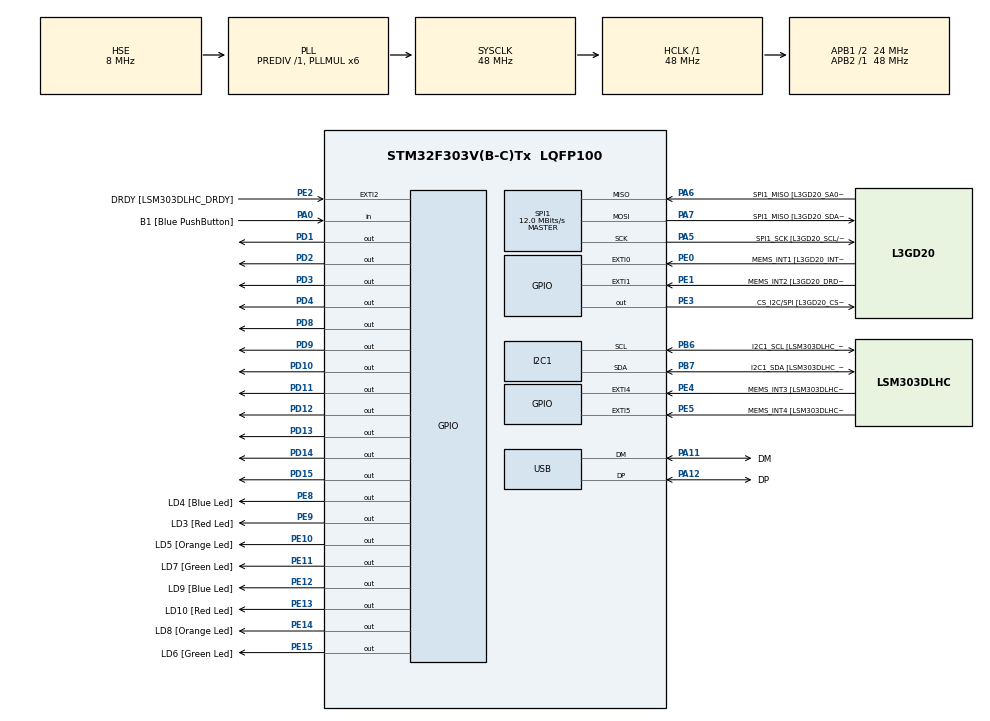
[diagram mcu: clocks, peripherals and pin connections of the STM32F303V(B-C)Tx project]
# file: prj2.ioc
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I2C1.Timing=0x2000090E
I2C1.Timing-I2C=0x2000090E
Mcu.Family=STM32F3
Mcu.Name=STM32F303V(B-C)Tx
Mcu.Package=LQFP100
NVIC.PriorityGroup=NVIC_PRIORITYGROUP_0
PA0.GPIO_Label=B1 [Blue PushButton]
PA0.Signal=GPIO_Input
PA11.GPIO_Label=DM
PA11.Mode=Device
PA11.Signal=USB_DM
PA12.GPIO_Label=DP
PA12.Mode=Device
PA12.Signal=USB_DP
PA13.GPIO_Label=SWDIO
PA13.Mode=Serial_Wire
PA13.Signal=SYS_JTMS-SWDIO
PA14.GPIO_Label=SWCLK
PA14.Mode=Serial_Wire
PA14.Signal=SYS_JTCK-SWCLK
PA5.GPIO_Label=SPI1_SCK [L3GD20_SCL/SPC]
PA5.Mode=Full_Duplex_Master
PA5.Signal=SPI1_SCK
PA6.GPIO_Label=SPI1_MISO [L3GD20_SA0/SDO]
PA6.Mode=Full_Duplex_Master
PA6.Signal=SPI1_MISO
PA7.GPIO_Label=SPI1_MISO [L3GD20_SDA/SDI/SDO]
PA7.Mode=Full_Duplex_Master
PA7.Signal=SPI1_MOSI
PB3.GPIO_Label=SWO
PB3.Signal=SYS_JTDO-TRACESWO
PB6.GPIO_Label=I2C1_SCL [LSM303DLHC_SCL]
PB6.GPIO_Pu=GPIO_PULLUP
PB6.Mode=I2C
PB6.Signal=I2C1_SCL
PB7.GPIO_Label=I2C1_SDA [LSM303DLHC_SDA]
PB7.GPIO_Pu=GPIO_PULLUP
PB7.Mode=I2C
PB7.Signal=I2C1_SDA
PC14-OSC32_IN.GPIO_Label=OSC32_IN
PC14-OSC32_IN.Signal=RCC_OSC32_IN
PC15-OSC32_OUT.GPIO_Label=OSC32_OUT
PC15-OSC32_OUT.Signal=RCC_OSC32_OUT
PD1.Signal=GPIO_Output
PD10.Signal=GPIO_Output
PD11.Signal=GPIO_Output
PD12.Signal=GPIO_Output
PD13.Signal=GPIO_Output
PD14.Signal=GPIO_Output
PD15.Signal=GPIO_Output
PD2.Signal=GPIO_Output
PD3.Signal=GPIO_Output
PD4.Signal=GPIO_Output
PD8.Signal=GPIO_Output
PD9.Signal=GPIO_Output
PE0.GPIO_Label=MEMS_INT1 [L3GD20_INT1]
PE0.GPIO_ModeDefaultEXTI=GPIO_MODE_EVT_RISING
PE0.Signal=GPXTI0
PE1.GPIO_Label=MEMS_INT2 [L3GD20_DRDY/INT2]
PE1.GPIO_ModeDefaultEXTI=GPIO_MODE_EVT_RISING
PE1.Signal=GPXTI1
PE10.GPIO_Label=LD5 [Orange Led]
PE10.Signal=GPIO_Output
PE11.GPIO_Label=LD7 [Green Led]
PE11.Signal=GPIO_Output
PE12.GPIO_Label=LD9 [Blue Led]
PE12.Signal=GPIO_Output
PE13.GPIO_Label=LD10 [Red Led]
PE13.Signal=GPIO_Output
PE14.GPIO_Label=LD8 [Orange Led]
PE14.Signal=GPIO_Output
PE15.GPIO_Label=LD6 [Green Led]
PE15.Signal=GPIO_Output
PE2.GPIO_Label=DRDY [LSM303DLHC_DRDY]
PE2.GPIO_ModeDefaultEXTI=GPIO_MODE_EVT_RISING
PE2.Signal=GPXTI2
PE3.GPIO_Label=CS_I2C/SPI [L3GD20_CS_I2C/SPI]
PE3.Signal=GPIO_Output
PE4.GPIO_Label=MEMS_INT3 [LSM303DLHC_INT1]
PE4.GPIO_ModeDefaultEXTI=GPIO_MODE_EVT_RISING
PE4.Signal=GPXTI4
PE5.GPIO_Label=MEMS_INT4 [LSM303DLHC_INT2]
PE5.GPIO_ModeDefaultEXTI=GPIO_MODE_EVT_RISING
PE5.Signal=GPXTI5
PE8.GPIO_Label=LD4 [Blue Led]
PE8.Signal=GPIO_Output
PE9.GPIO_Label=LD3 [Red Led]
PE9.Signal=GPIO_Output
PF0-OSC_IN.GPIO_Label=OSC_IN
PF0-OSC_IN.Mode=HSE-External-Clock-Source
PF0-OSC_IN.Signal=RCC_OSC_IN
PF1-OSC_OUT.GPIO_Label=OSC_OUT
PF1-OSC_OUT.Signal=RCC_OSC_OUT
ProjectManager.HeapSize=0x200
ProjectManager.StackSize=0x400
ProjectManager.TargetToolchain=STM32CubeIDE
RCC.AHBFreq_Value=48000000
RCC.APB1CLKDivider=RCC_HCLK_DIV2
RCC.APB1Freq_Value=24000000
RCC.APB1TimFreq_Value=48000000
RCC.APB2Freq_Value=48000000
RCC.APB2TimFreq_Value=48000000
RCC.CortexFreq_Value=48000000
RCC.HCLKFreq_Value=48000000
RCC.HSE_VALUE=8000000
RCC.HSI_VALUE=8000000
RCC.LSE_VALUE=32768
RCC.PLLMUL=RCC_PLL_MUL6
RCC.SYSCLKFreq_VALUE=48000000
RCC.SYSCLKSourceVirtual=RCC_SYSCLKSOURCE_PLLCLK
RCC.USBFreq_Value=48000000
SPI1.BaudRatePrescaler=SPI_BAUDRATEPRESCALER_4
SPI1.BaudRatePrescaler-Full_Duplex_Master=SPI_BAUDRATEPRESCALER_2
SPI1.CalculateBaudRate=12.0 MBits/s
SPI1.CalculateBaudRate-Full_Duplex_Master=24.0 MBits/s
SPI1.Direction=SPI_DIRECTION_2LINES
SPI1.Mode=SPI_MODE_MASTER
SPI1.Mode-Full_Duplex_Master=SPI_MODE_MASTER
SPI1.VirtualType=VM_MASTER
board=STM32F3DISCOVERY

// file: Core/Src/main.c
/* USER CODE BEGIN Header */
/**
  ******************************************************************************
  * @file           : main.c
  * @brief          : Main program body
  ******************************************************************************
  * @attention
  *
  * Copyright (c) 2024 STMicroelectronics.
  * All rights reserved.
  *
  * This software is licensed under terms that can be found in the LICENSE file
  * in the root directory of this software component.
  * If no LICENSE file comes with this software, it is provided AS-IS.
  *
  ******************************************************************************
  */
/* USER CODE END Header */
#include "main.h"

I2C_HandleTypeDef hi2c1;

SPI_HandleTypeDef hspi1;

PCD_HandleTypeDef hpcd_USB_FS;

void SystemClock_Config(void);
static void MX_GPIO_Init(void);
static void MX_I2C1_Init(void);
static void MX_SPI1_Init(void);
static void MX_USB_PCD_Init(void);

/* USER CODE BEGIN 0 */
struct MyStruct {
	uint16_t pin;
};

int map[10][7] = {0};
struct MyStruct pins [7];
int counter = 0;
int digit[4];
int temp;

void init(){
	for (int i=0;i<6;i++){
		map[0][i]=1;
	}

	map[1][1]=1;
	map[1][2]=1;

	map[2][0]=1;
	map[2][1]=1;
	map[2][6]=1;
	map[2][3]=1;
	map[2][4]=1;

	for (int i=0;i<7;i++){
		if (i != 4 && i != 5){
			map[3][i]=1;
		}
	}

	map[4][1]=1;
	map[4][2]=1;
	map[4][5]=1;
	map[4][6]=1;

	map[5][0]=1;
	map[5][2]=1;
	map[5][3]=1;
	map[5][5]=1;
	map[5][6]=1;

	for (int i=0;i<7;i++){
		if (i != 1){
			map[6][i]=1;
		}
	}

	map[7][0]=1;
	map[7][1]=1;
	map[7][2]=1;

	for (int i=0;i<7;i++){
		map[8][i]=1;
	}

	for (int i=0;i<7;i++){
		if (i != 4){
			map[9][i]=1;
		}
	}

	pins[0].pin = GPIO_PIN_8;
	pins[1].pin = GPIO_PIN_9;
	pins[2].pin = GPIO_PIN_10;
	pins[3].pin = GPIO_PIN_11;
	pins[4].pin = GPIO_PIN_12;
	pins[5].pin = GPIO_PIN_13;
	pins[6].pin = GPIO_PIN_14;
}
void active_digits (){
	if (temp == 0){
		HAL_GPIO_WritePin(GPIOD, GPIO_PIN_1, GPIO_PIN_RESET);
		HAL_GPIO_WritePin(GPIOD, GPIO_PIN_2, GPIO_PIN_SET);
		HAL_GPIO_WritePin(GPIOD, GPIO_PIN_3, GPIO_PIN_SET);
		HAL_GPIO_WritePin(GPIOD, GPIO_PIN_4, GPIO_PIN_SET);
		shownumber(digit[0]);
		temp = 1;
	}else if (temp == 1){
		HAL_GPIO_WritePin(GPIOD, GPIO_PIN_1, GPIO_PIN_SET);
		HAL_GPIO_WritePin(GPIOD, GPIO_PIN_2, GPIO_PIN_RESET);
		HAL_GPIO_WritePin(GPIOD, GPIO_PIN_3, GPIO_PIN_SET);
		HAL_GPIO_WritePin(GPIOD, GPIO_PIN_4, GPIO_PIN_SET);
		shownumber(digit[1]);
		temp=2;
	}else if (temp == 2){
		HAL_GPIO_WritePin(GPIOD, GPIO_PIN_1, GPIO_PIN_SET);
		HAL_GPIO_WritePin(GPIOD, GPIO_PIN_2, GPIO_PIN_SET);
		HAL_GPIO_WritePin(GPIOD, GPIO_PIN_3, GPIO_PIN_RESET);
		HAL_GPIO_WritePin(GPIOD, GPIO_PIN_4, GPIO_PIN_SET);
		shownumber(digit[2]);
		temp=3;
	}else {
		HAL_GPIO_WritePin(GPIOD, GPIO_PIN_1, GPIO_PIN_SET);
		HAL_GPIO_WritePin(GPIOD, GPIO_PIN_2, GPIO_PIN_SET);
		HAL_GPIO_WritePin(GPIOD, GPIO_PIN_3, GPIO_PIN_SET);
		HAL_GPIO_WritePin(GPIOD, GPIO_PIN_4, GPIO_PIN_RESET);
		shownumber(digit[3]);
		temp = 0;
	}
	HAL_Delay(4);
}

void shownumber (int x){
	for (int i=0;i<7;i++){
		if (map[x][i]==1){
			HAL_GPIO_WritePin(GPIOD, pins[i].pin, GPIO_PIN_SET);
		}
		else{
			HAL_GPIO_WritePin(GPIOD, pins[i].pin, GPIO_PIN_RESET);
		}
	}
}
void tokenize(){
	digit[0] = (counter/1000)%10;
	digit[1] = (counter/100)%10;
	digit[2] = (counter/10)%10;
	digit[3] = (counter%10);
}
void increment (){
	int cnt = 0;
	int x = counter;
	while (x){
		cnt++;
		x/=10;
	}
	int mult = 1;
	while(cnt>1){
		mult*=10;
		cnt--;
	}
	counter += mult;
}
/* USER CODE END 0 */

int main(void)
{

  /* MCU Configuration--------------------------------------------------------*/

  /* Reset of all peripherals, Initializes the Flash interface and the Systick. */
  HAL_Init();

  /* Configure the system clock */
  SystemClock_Config();

  /* Initialize all configured peripherals */
  MX_GPIO_Init();
  MX_I2C1_Init();
  MX_SPI1_Init();
  MX_USB_PCD_Init();
  /* USER CODE BEGIN 2 */
  init();
  int prev_state = 0;
  int debounce = 0;
  int start = 0;
  /* USER CODE END 2 */

  /* Infinite loop */
  while (1)
  {

    /* USER CODE BEGIN 3 */
	  tokenize();
	  active_digits();
	  if (HAL_GPIO_ReadPin(GPIOA, GPIO_PIN_0) && HAL_GetTick() - debounce >200 && prev_state == 0){
		  counter++;
		  debounce = HAL_GetTick();
		  start = HAL_GetTick();
		  prev_state = 1;
	  }
	  if(HAL_GPIO_ReadPin(GPIOA, GPIO_PIN_0) && prev_state){
		  if(HAL_GetTick()-start > 3000){
			  increment();
			  start = HAL_GetTick();
		  }
	  }
	  if (!HAL_GPIO_ReadPin(GPIOA, GPIO_PIN_0)){
		  prev_state = 0;
	  }
  }
  /* USER CODE END 3 */
}

void SystemClock_Config(void)
{
  RCC_OscInitTypeDef RCC_OscInitStruct = {0};
  RCC_ClkInitTypeDef RCC_ClkInitStruct = {0};
  RCC_PeriphCLKInitTypeDef PeriphClkInit = {0};

  /** Initializes the RCC Oscillators according to the specified parameters
  * in the RCC_OscInitTypeDef structure.
  */
  RCC_OscInitStruct.OscillatorType = RCC_OSCILLATORTYPE_HSI|RCC_OSCILLATORTYPE_HSE;
  RCC_OscInitStruct.HSEState = RCC_HSE_BYPASS;
  RCC_OscInitStruct.HSEPredivValue = RCC_HSE_PREDIV_DIV1;
  RCC_OscInitStruct.HSIState = RCC_HSI_ON;
  RCC_OscInitStruct.HSICalibrationValue = RCC_HSICALIBRATION_DEFAULT;
  RCC_OscInitStruct.PLL.PLLState = RCC_PLL_ON;
  RCC_OscInitStruct.PLL.PLLSource = RCC_PLLSOURCE_HSE;
  RCC_OscInitStruct.PLL.PLLMUL = RCC_PLL_MUL6;
  if (HAL_RCC_OscConfig(&RCC_OscInitStruct) != HAL_OK)
  {
    Error_Handler();
  }

  /** Initializes the CPU, AHB and APB buses clocks
  */
  RCC_ClkInitStruct.ClockType = RCC_CLOCKTYPE_HCLK|RCC_CLOCKTYPE_SYSCLK
                              |RCC_CLOCKTYPE_PCLK1|RCC_CLOCKTYPE_PCLK2;
  RCC_ClkInitStruct.SYSCLKSource = RCC_SYSCLKSOURCE_PLLCLK;
  RCC_ClkInitStruct.AHBCLKDivider = RCC_SYSCLK_DIV1;
  RCC_ClkInitStruct.APB1CLKDivider = RCC_HCLK_DIV2;
  RCC_ClkInitStruct.APB2CLKDivider = RCC_HCLK_DIV1;

  if (HAL_RCC_ClockConfig(&RCC_ClkInitStruct, FLASH_LATENCY_1) != HAL_OK)
  {
    Error_Handler();
  }
  PeriphClkInit.PeriphClockSelection = RCC_PERIPHCLK_USB|RCC_PERIPHCLK_I2C1;
  PeriphClkInit.I2c1ClockSelection = RCC_I2C1CLKSOURCE_HSI;
  PeriphClkInit.USBClockSelection = RCC_USBCLKSOURCE_PLL;
  if (HAL_RCCEx_PeriphCLKConfig(&PeriphClkInit) != HAL_OK)
  {
    Error_Handler();
  }
}

static void MX_I2C1_Init(void)
{

  hi2c1.Instance = I2C1;
  hi2c1.Init.Timing = 0x2000090E;
  hi2c1.Init.OwnAddress1 = 0;
  hi2c1.Init.AddressingMode = I2C_ADDRESSINGMODE_7BIT;
  hi2c1.Init.DualAddressMode = I2C_DUALADDRESS_DISABLE;
  hi2c1.Init.OwnAddress2 = 0;
  hi2c1.Init.OwnAddress2Masks = I2C_OA2_NOMASK;
  hi2c1.Init.GeneralCallMode = I2C_GENERALCALL_DISABLE;
  hi2c1.Init.NoStretchMode = I2C_NOSTRETCH_DISABLE;
  if (HAL_I2C_Init(&hi2c1) != HAL_OK)
  {
    Error_Handler();
  }

  /** Configure Analogue filter
  */
  if (HAL_I2CEx_ConfigAnalogFilter(&hi2c1, I2C_ANALOGFILTER_ENABLE) != HAL_OK)
  {
    Error_Handler();
  }

  /** Configure Digital filter
  */
  if (HAL_I2CEx_ConfigDigitalFilter(&hi2c1, 0) != HAL_OK)
  {
    Error_Handler();
  }

}

static void MX_SPI1_Init(void)
{

  /* SPI1 parameter configuration*/
  hspi1.Instance = SPI1;
  hspi1.Init.Mode = SPI_MODE_MASTER;
  hspi1.Init.Direction = SPI_DIRECTION_2LINES;
  hspi1.Init.DataSize = SPI_DATASIZE_4BIT;
  hspi1.Init.CLKPolarity = SPI_POLARITY_LOW;
  hspi1.Init.CLKPhase = SPI_PHASE_1EDGE;
  hspi1.Init.NSS = SPI_NSS_SOFT;
  hspi1.Init.BaudRatePrescaler = SPI_BAUDRATEPRESCALER_4;
  hspi1.Init.FirstBit = SPI_FIRSTBIT_MSB;
  hspi1.Init.TIMode = SPI_TIMODE_DISABLE;
  hspi1.Init.CRCCalculation = SPI_CRCCALCULATION_DISABLE;
  hspi1.Init.CRCPolynomial = 7;
  hspi1.Init.CRCLength = SPI_CRC_LENGTH_DATASIZE;
  hspi1.Init.NSSPMode = SPI_NSS_PULSE_ENABLE;
  if (HAL_SPI_Init(&hspi1) != HAL_OK)
  {
    Error_Handler();
  }

}

static void MX_USB_PCD_Init(void)
{

  hpcd_USB_FS.Instance = USB;
  hpcd_USB_FS.Init.dev_endpoints = 8;
  hpcd_USB_FS.Init.speed = PCD_SPEED_FULL;
  hpcd_USB_FS.Init.phy_itface = PCD_PHY_EMBEDDED;
  hpcd_USB_FS.Init.low_power_enable = DISABLE;
  hpcd_USB_FS.Init.battery_charging_enable = DISABLE;
  if (HAL_PCD_Init(&hpcd_USB_FS) != HAL_OK)
  {
    Error_Handler();
  }

}

static void MX_GPIO_Init(void)
{
  GPIO_InitTypeDef GPIO_InitStruct = {0};

  /* GPIO Ports Clock Enable */
  __HAL_RCC_GPIOE_CLK_ENABLE();
  __HAL_RCC_GPIOC_CLK_ENABLE();
  __HAL_RCC_GPIOF_CLK_ENABLE();
  __HAL_RCC_GPIOA_CLK_ENABLE();
  __HAL_RCC_GPIOD_CLK_ENABLE();
  __HAL_RCC_GPIOB_CLK_ENABLE();

  /*Configure GPIO pin Output Level */
  HAL_GPIO_WritePin(GPIOE, CS_I2C_SPI_Pin|LD4_Pin|LD3_Pin|LD5_Pin
                          |LD7_Pin|LD9_Pin|LD10_Pin|LD8_Pin
                          |LD6_Pin, GPIO_PIN_RESET);

  /*Configure GPIO pin Output Level */
  HAL_GPIO_WritePin(GPIOD, GPIO_PIN_8|GPIO_PIN_9|GPIO_PIN_10|GPIO_PIN_11
                          |GPIO_PIN_12|GPIO_PIN_13|GPIO_PIN_14|GPIO_PIN_15
                          |GPIO_PIN_1|GPIO_PIN_2|GPIO_PIN_3|GPIO_PIN_4, GPIO_PIN_RESET);

  /*Configure GPIO pins : DRDY_Pin MEMS_INT3_Pin MEMS_INT4_Pin MEMS_INT1_Pin
                           MEMS_INT2_Pin */
  GPIO_InitStruct.Pin = DRDY_Pin|MEMS_INT3_Pin|MEMS_INT4_Pin|MEMS_INT1_Pin
                          |MEMS_INT2_Pin;
  GPIO_InitStruct.Mode = GPIO_MODE_EVT_RISING;
  GPIO_InitStruct.Pull = GPIO_NOPULL;
  HAL_GPIO_Init(GPIOE, &GPIO_InitStruct);

  /*Configure GPIO pins : CS_I2C_SPI_Pin LD4_Pin LD3_Pin LD5_Pin
                           LD7_Pin LD9_Pin LD10_Pin LD8_Pin
                           LD6_Pin */
  GPIO_InitStruct.Pin = CS_I2C_SPI_Pin|LD4_Pin|LD3_Pin|LD5_Pin
                          |LD7_Pin|LD9_Pin|LD10_Pin|LD8_Pin
                          |LD6_Pin;
  GPIO_InitStruct.Mode = GPIO_MODE_OUTPUT_PP;
  GPIO_InitStruct.Pull = GPIO_NOPULL;
  GPIO_InitStruct.Speed = GPIO_SPEED_FREQ_LOW;
  HAL_GPIO_Init(GPIOE, &GPIO_InitStruct);

  /*Configure GPIO pin : B1_Pin */
  GPIO_InitStruct.Pin = B1_Pin;
  GPIO_InitStruct.Mode = GPIO_MODE_INPUT;
  GPIO_InitStruct.Pull = GPIO_NOPULL;
  HAL_GPIO_Init(B1_GPIO_Port, &GPIO_InitStruct);

  /*Configure GPIO pins : PD8 PD9 PD10 PD11
                           PD12 PD13 PD14 PD15
                           PD1 PD2 PD3 PD4 */
  GPIO_InitStruct.Pin = GPIO_PIN_8|GPIO_PIN_9|GPIO_PIN_10|GPIO_PIN_11
                          |GPIO_PIN_12|GPIO_PIN_13|GPIO_PIN_14|GPIO_PIN_15
                          |GPIO_PIN_1|GPIO_PIN_2|GPIO_PIN_3|GPIO_PIN_4;
  GPIO_InitStruct.Mode = GPIO_MODE_OUTPUT_PP;
  GPIO_InitStruct.Pull = GPIO_NOPULL;
  GPIO_InitStruct.Speed = GPIO_SPEED_FREQ_LOW;
  HAL_GPIO_Init(GPIOD, &GPIO_InitStruct);

}

void Error_Handler(void)
{
  __disable_irq();
  while (1)
  {
  }
}
